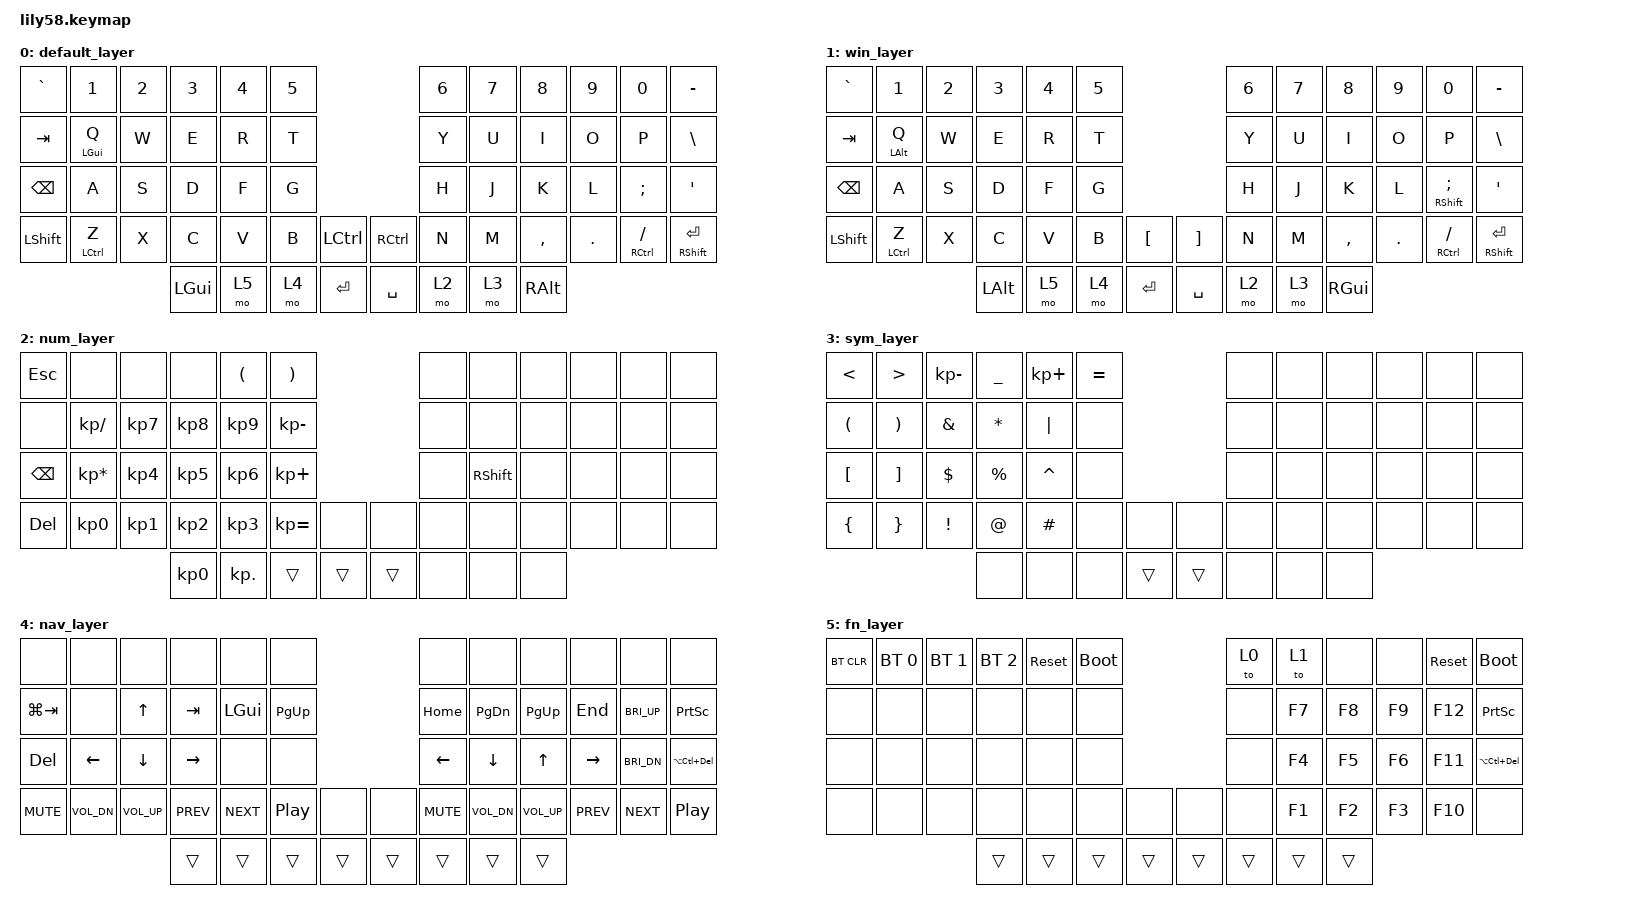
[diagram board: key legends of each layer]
/*
 * Copyright (c) 2020 The ZMK Contributors
 *
 * SPDX-License-Identifier: MIT
 */

#include <behaviors.dtsi>
#include <dt-bindings/zmk/keys.h>
#include <dt-bindings/zmk/bt.h>
#include <dt-bindings/zmk/ext_power.h>

#define G_C_L LG(LC(LEFT))
#define G_C_R LG(LC(RIGHT))
#define A_C_D LA(LC(DEL))

#include "macros.dtsi"
#include "lily58.combos.dtsi"

&mt {
    tapping-term-ms = <175>;
};

&caps_word {
    continue-list = <UNDERSCORE MINUS BSPC DEL N1 N2 N3 N4 N5 N6 N7 N8 N9 N0>;
};

/ {

    behaviors {
        hm: homerow_mods {
            compatible = "zmk,behavior-hold-tap";
            label = "HOMEROW_MODS";
            #binding-cells = <2>;
            tapping-term-ms = <175>;
            quick-tap-ms = <100>;
            global-quick-tap;
            flavor = "tap-preferred";
            bindings = <&kp>, <&kp>;
        };
        td_esc: tap_dance_esc {
            compatible = "zmk,behavior-tap-dance";
            label = "TAP_ESC";
            #binding-cells = <0>;
            tapping-term-ms = <200>;
            bindings = <&kp GRAVE>, <&kp ESC>, <&kp ESC>;
        };
        bspc_del: backspace_delete {
            compatible = "zmk,behavior-mod-morph";
            label = "BACKSPACE_DELETE";
            #binding-cells = <0>;
            bindings = <&kp BACKSPACE>, <&kp DELETE>;
            mods = <(MOD_LSFT|MOD_RSFT)>;
            keep-mods = <(MOD_RSFT)>;
        };
    };

    keymap {
        compatible = "zmk,keymap";

        default_layer {
            bindings = <
&kp GRAVE  &kp N1       &kp N2  &kp N3    &kp N4  &kp N5                        &kp N6  &kp N7   &kp N8     &kp N9   &kp N0          &kp MINUS
&kp TAB    &hm LGUI Q   &kp W   &kp E     &kp R   &kp T                         &kp Y   &kp U    &kp I      &kp O    &kp P           &kp BSLH
&kp BSPC   &kp A        &kp S   &kp D     &kp F   &kp G                         &kp H   &kp J    &kp K      &kp L    &kp SEMI        &kp SQT
&kp LSHFT  &hm LCTRL Z  &kp X   &kp C     &kp V   &kp B   &kp LCTRL  &kp RCTRL  &kp N   &kp M    &kp COMMA  &kp DOT  &hm RCTRL FSLH  &mt RSHFT RET
                                &kp LGUI  &mo 5   &mo 4   &kp RET    &kp SPACE  &mo 2   &mo 3  &kp RALT
            >;
        };

        win_layer {
            bindings = <
&kp GRAVE  &kp N1       &kp N2  &kp N3    &kp N4  &kp N5                       &kp N6  &kp N7   &kp N8     &kp N9   &kp N0          &kp MINUS
&kp TAB    &hm LALT Q   &kp W   &kp E     &kp R   &kp T                        &kp Y   &kp U    &kp I      &kp O    &kp P           &kp BSLH
&kp BSPC   &kp A        &kp S   &kp D     &kp F   &kp G                        &kp H   &kp J    &kp K      &kp L    &hm RSHFT SEMI  &kp SQT
&kp LSHFT  &hm LCTRL Z  &kp X   &kp C     &kp V   &kp B   &kp LBKT  &kp RBKT   &kp N   &kp M    &kp COMMA  &kp DOT  &hm RCTRL FSLH  &mt RSHFT RET
                                &kp LALT  &mo 5   &mo 4   &kp RET   &kp SPACE  &mo 2   &mo 3    &kp RGUI
            >;
        };

        num_layer {
            bindings = <
&kp ESC   &none            &none      &none      &kp LPAR    &kp RPAR                      &none  &none      &none  &none  &none  &none
&none     &kp KP_DIVIDE    &kp KP_N7  &kp KP_N8  &kp KP_N9   &kp KP_MINUS                  &none  &none      &none  &none  &none  &none
&kp BSPC  &kp KP_MULTIPLY  &kp KP_N4  &kp KP_N5  &kp KP_N6   &kp KP_PLUS                   &none  &kp RSHFT  &none  &none  &none  &none
&kp DEL   &kp KP_N0        &kp KP_N1  &kp KP_N2  &kp KP_N3   &kp KP_EQUAL  &none   &none   &none  &none      &none  &none  &none  &none
                                      &kp KP_N0  &kp KP_DOT  &trans        &trans  &trans  &none  &none      &none
            >;
        };

        sym_layer {
            bindings = <
&kp LT    &kp GT    &kp KP_MINUS  &kp UNDER  &kp KP_PLUS  &kp EQUAL               &none  &none  &none  &none  &none  &none
&kp LPAR  &kp RPAR  &kp AMPS      &kp ASTRK  &kp PIPE     &none                   &none  &none  &none  &none  &none  &none
&kp LBKT  &kp RBKT  &kp DLLR      &kp PRCNT  &kp CARET    &none                   &none  &none  &none  &none  &none  &none
&kp LBRC  &kp RBRC  &kp EXCL      &kp AT     &kp HASH     &none   &none   &none   &none  &none  &none  &none  &none  &none
                                  &none      &none        &none   &trans  &trans  &none  &none  &none
            >;
        };

        nav_layer {
            bindings = <
&none        &none         &none         &none       &none       &none                     &none       &none         &none         &none       &none         &none
&kp LG(TAB)  &none         &kp UP        &kp TAB     &kp LGUI    &kp PG_UP                 &kp HOME    &kp PG_DN     &kp PG_UP     &kp END     &kp C_BRI_UP  &kp PSCRN
&kp DEL      &kp LEFT      &kp DOWN      &kp RIGHT   &none       &none                     &kp LEFT    &kp DOWN      &kp UP        &kp RIGHT   &kp C_BRI_DN  &kp A_C_D
&kp K_MUTE   &kp C_VOL_DN  &kp C_VOL_UP  &kp C_PREV  &kp C_NEXT  &kp C_PP  &none   &none   &kp K_MUTE  &kp C_VOL_DN  &kp C_VOL_UP  &kp C_PREV  &kp C_NEXT    &kp C_PP
                                         &trans      &trans      &trans    &trans  &trans  &trans      &trans        &trans
            >;
        };

        fn_layer {
            bindings = <
&bt BT_CLR  &bt BT_SEL 0 &bt BT_SEL 1 &bt BT_SEL 2 &sys_reset  &bootloader             &to 0   &to 1   &none   &none   &sys_reset  &bootloader
&none       &none        &none        &none        &none       &none                   &none   &kp F7  &kp F8  &kp F9  &kp F12     &kp PSCRN
&none       &none        &none        &none        &none       &none                   &none   &kp F4  &kp F5  &kp F6  &kp F11     &kp A_C_D
&none       &none        &none        &none        &none       &none   &none   &none   &none   &kp F1  &kp F2  &kp F3  &kp F10     &none
                                      &trans       &trans      &trans  &trans  &trans  &trans  &trans  &trans
            >;
        };

    };
};

